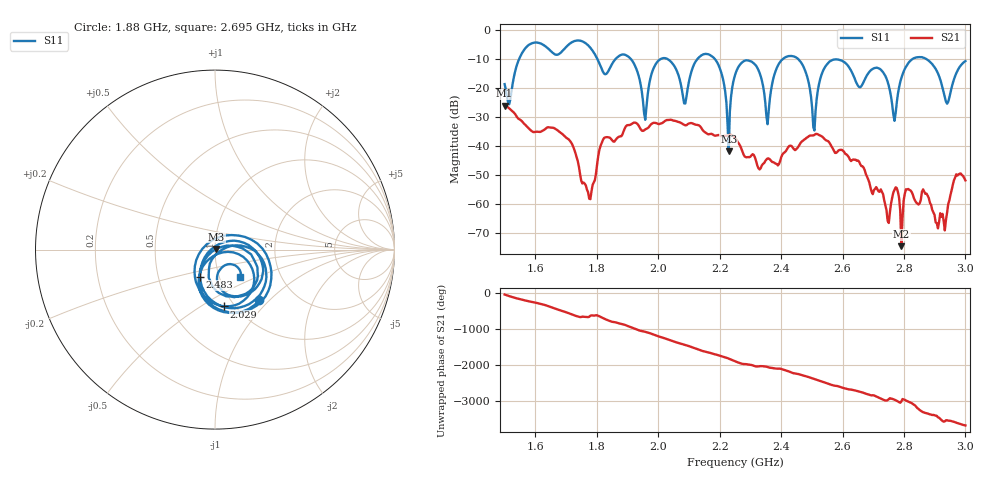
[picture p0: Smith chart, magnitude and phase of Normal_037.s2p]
# HZ S RI R 50
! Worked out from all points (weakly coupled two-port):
!   404 points, 1.5 GHz to 3 GHz, reference 50 ohm
!   highest |S21| = -26.01 dB at 1.5 GHz (marker M1); lowest = -74.5 dB at 2.792 GHz (marker M2)
!   lowest |S11| = -41.8 dB at 2.23 GHz (marker M3), VSWR 1.02, Z = 50.7 + j0.42 ohm
!   |S11| at or under -10 dB: 2.185 GHz to 2.405 GHz (220.7 MHz wide, 9.61 % of centre); 2.456 GHz to 2.827 GHz (371.3 MHz wide, 14.1 % of centre); 2.873 GHz to end of sweep (the widest 3 of 7)
!   S12 and S22 are empty: the file has one direction only
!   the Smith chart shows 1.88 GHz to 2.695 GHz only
!   S11 on the Smith chart (normalised r, x): 1.88 GHz: 1.33, -0.87; 2.029 GHz: 0.90, -0.63; 2.483 GHz: 0.81, -0.25; 2.695 GHz: 1.26, -0.40
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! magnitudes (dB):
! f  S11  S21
! 1.5 GHz  -18.6  -26.0
! 1.753 GHz  -3.9  -52.9
! 1.88 GHz  -8.5  -36.6
! 1.958 GHz  -30.9  -34.2
! 2.002 GHz  -10.4  -32.4
! 2.029 GHz  -9.9  -31.0
! 2.088 GHz  -25.3  -32.8
! 2.177 GHz  -9.2  -35.9
! 2.23 GHz  -41.8  -36.1
! 2.252 GHz  -14.9  -37.3
! 2.315 GHz  -11.9  -44.0
! 2.356 GHz  -32.4  -44.2
! 2.404 GHz  -10.1  -42.8
! 2.483 GHz  -15.3  -37.1
! 2.501 GHz  -26.9  -36.3
! 2.561 GHz  -10.6  -39.5
! 2.695 GHz  -13.6  -55.8
! 2.751 GHz  -19.2  -66.5
! 2.792 GHz  -16.5  -74.5
! 2.866 GHz  -9.6  -55.6
! 2.94 GHz  -25.3  -62.9
! 3 GHz  -10.7  -51.8
